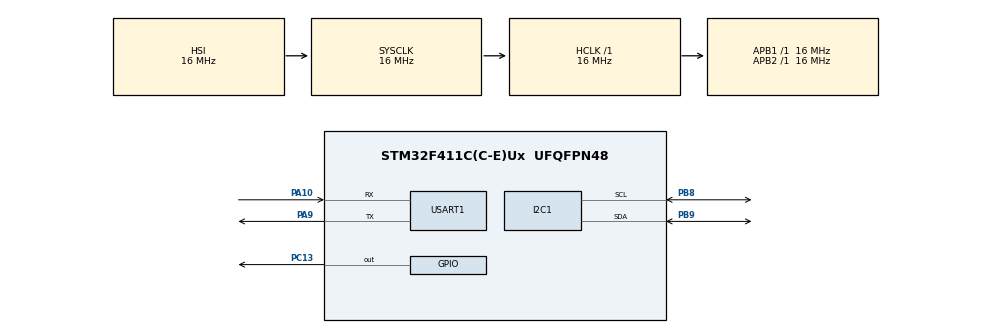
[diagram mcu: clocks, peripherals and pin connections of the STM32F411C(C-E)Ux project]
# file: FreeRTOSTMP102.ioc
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FREERTOS.Queues01=myQueue01,16,queueItem_t,0,Dynamic,NULL,NULL
FREERTOS.Tasks01=readTempTask,24,128,ReadTempTask,Default,NULL,Dynamic,NULL,NULL;writeTempTask,8,128,WriteTempTask,Default,NULL,Dynamic,NULL,NULL
Mcu.Family=STM32F4
Mcu.Name=STM32F411C(C-E)Ux
Mcu.Package=UFQFPN48
NVIC.PriorityGroup=NVIC_PRIORITYGROUP_4
NVIC.TIM1_TRG_COM_TIM11_IRQn=true\:0\:0\:false\:false\:true\:false\:false\:true
NVIC.TimeBase=TIM1_TRG_COM_TIM11_IRQn
NVIC.TimeBaseIP=TIM11
PA10.Mode=Asynchronous
PA10.Signal=USART1_RX
PA9.Mode=Asynchronous
PA9.Signal=USART1_TX
PB8.Mode=I2C
PB8.Signal=I2C1_SCL
PB9.Mode=I2C
PB9.Signal=I2C1_SDA
PC13-ANTI_TAMP.Signal=GPIO_Output
ProjectManager.HeapSize=0x200
ProjectManager.StackSize=0x400
ProjectManager.TargetToolchain=STM32CubeIDE
RCC.AHBFreq_Value=16000000
RCC.APB1Freq_Value=16000000
RCC.APB2Freq_Value=16000000
RCC.CortexFreq_Value=16000000
RCC.HSE_VALUE=25000000
RCC.HSI_VALUE=16000000
RCC.LSE_VALUE=32768
RCC.SYSCLKFreq_VALUE=16000000
RCC.VCOOutputFreq_Value=192000000
USART1.VirtualMode=VM_ASYNC
VP_FREERTOS_VS_CMSIS_V2.Mode=CMSIS_V2
VP_SYS_VS_tim11.Mode=TIM11
board=custom

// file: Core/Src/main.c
/* USER CODE BEGIN Header */
/**
 ******************************************************************************
 * @file           : main.c
 * @brief          : Main program body
 ******************************************************************************
 * @attention
 *
 * <h2><center>&copy; Copyright (c) 2021 STMicroelectronics.
 * All rights reserved.</center></h2>
 *
 * This software component is licensed by ST under BSD 3-Clause license,
 * the "License"; You may not use this file except in compliance with the
 * License. You may obtain a copy of the License at:
 *                        opensource.org/licenses/BSD-3-Clause
 *
 ******************************************************************************
 */
/* USER CODE END Header */
#include "main.h"
#include "cmsis_os.h"

/* USER CODE BEGIN Includes */
#include <stdio.h>
#include <string.h>
/* USER CODE END Includes */

/* USER CODE BEGIN PTD */
typedef struct {
	HAL_StatusTypeDef halStatus;
	uint16_t value;
} queueItem_t;
/* USER CODE END PTD */

I2C_HandleTypeDef hi2c1;

UART_HandleTypeDef huart1;

/* Definitions for readTempTask */
osThreadId_t readTempTaskHandle;
const osThreadAttr_t readTempTask_attributes = { .name = "readTempTask",
		.priority = (osPriority_t) osPriorityNormal, .stack_size = 128 * 4 };
/* Definitions for writeTempTask */
osThreadId_t writeTempTaskHandle;
const osThreadAttr_t writeTempTask_attributes = { .name = "writeTempTask",
		.priority = (osPriority_t) osPriorityLow, .stack_size = 128 * 4 };
/* Definitions for myQueue01 */
osMessageQueueId_t myQueue01Handle;
const osMessageQueueAttr_t myQueue01_attributes = { .name = "myQueue01" };
/* USER CODE BEGIN PV */
static const uint8_t TMP102_I2C_ADDR = 0x48 << 1;
static const uint8_t TMP102_REG_ADDR = 0x00;
/* USER CODE END PV */

void SystemClock_Config(void);
static void MX_GPIO_Init(void);
static void MX_I2C1_Init(void);
static void MX_USART1_UART_Init(void);
void ReadTempTask(void *argument);
void WriteTempTask(void *argument);

int main(void) {

	/* MCU Configuration--------------------------------------------------------*/

	/* Reset of all peripherals, Initializes the Flash interface and the Systick. */
	HAL_Init();

	/* Configure the system clock */
	SystemClock_Config();

	/* Initialize all configured peripherals */
	MX_GPIO_Init();
	MX_I2C1_Init();
	MX_USART1_UART_Init();

	/* Init scheduler */
	osKernelInitialize();

	/* Create the queue(s) */
	/* creation of myQueue01 */
	myQueue01Handle = osMessageQueueNew(16, sizeof(queueItem_t), &myQueue01_attributes);

	/* Create the thread(s) */
	/* creation of readTempTask */
	readTempTaskHandle = osThreadNew(ReadTempTask, NULL, &readTempTask_attributes);

	/* creation of writeTempTask */
	writeTempTaskHandle = osThreadNew(WriteTempTask, NULL, &writeTempTask_attributes);

	/* Start scheduler */
	osKernelStart();

	/* We should never get here as control is now taken by the scheduler */
	/* Infinite loop */
	while (1) {

	}
}

void SystemClock_Config(void) {
	RCC_OscInitTypeDef RCC_OscInitStruct = { 0 };
	RCC_ClkInitTypeDef RCC_ClkInitStruct = { 0 };

	/** Configure the main internal regulator output voltage
	 */
	__HAL_RCC_PWR_CLK_ENABLE();
	__HAL_PWR_VOLTAGESCALING_CONFIG(PWR_REGULATOR_VOLTAGE_SCALE1);
	/** Initializes the RCC Oscillators according to the specified parameters
	 * in the RCC_OscInitTypeDef structure.
	 */
	RCC_OscInitStruct.OscillatorType = RCC_OSCILLATORTYPE_HSI;
	RCC_OscInitStruct.HSIState = RCC_HSI_ON;
	RCC_OscInitStruct.HSICalibrationValue = RCC_HSICALIBRATION_DEFAULT;
	RCC_OscInitStruct.PLL.PLLState = RCC_PLL_NONE;
	if (HAL_RCC_OscConfig(&RCC_OscInitStruct) != HAL_OK) {
		Error_Handler();
	}
	/** Initializes the CPU, AHB and APB buses clocks
	 */
	RCC_ClkInitStruct.ClockType = RCC_CLOCKTYPE_HCLK | RCC_CLOCKTYPE_SYSCLK
			| RCC_CLOCKTYPE_PCLK1 | RCC_CLOCKTYPE_PCLK2;
	RCC_ClkInitStruct.SYSCLKSource = RCC_SYSCLKSOURCE_HSI;
	RCC_ClkInitStruct.AHBCLKDivider = RCC_SYSCLK_DIV1;
	RCC_ClkInitStruct.APB1CLKDivider = RCC_HCLK_DIV1;
	RCC_ClkInitStruct.APB2CLKDivider = RCC_HCLK_DIV1;

	if (HAL_RCC_ClockConfig(&RCC_ClkInitStruct, FLASH_LATENCY_0) != HAL_OK) {
		Error_Handler();
	}
}

static void MX_I2C1_Init(void) {

	hi2c1.Instance = I2C1;
	hi2c1.Init.ClockSpeed = 100000;
	hi2c1.Init.DutyCycle = I2C_DUTYCYCLE_2;
	hi2c1.Init.OwnAddress1 = 0;
	hi2c1.Init.AddressingMode = I2C_ADDRESSINGMODE_7BIT;
	hi2c1.Init.DualAddressMode = I2C_DUALADDRESS_DISABLE;
	hi2c1.Init.OwnAddress2 = 0;
	hi2c1.Init.GeneralCallMode = I2C_GENERALCALL_DISABLE;
	hi2c1.Init.NoStretchMode = I2C_NOSTRETCH_DISABLE;
	if (HAL_I2C_Init(&hi2c1) != HAL_OK) {
		Error_Handler();
	}

}

static void MX_USART1_UART_Init(void) {

	huart1.Instance = USART1;
	huart1.Init.BaudRate = 115200;
	huart1.Init.WordLength = UART_WORDLENGTH_8B;
	huart1.Init.StopBits = UART_STOPBITS_1;
	huart1.Init.Parity = UART_PARITY_NONE;
	huart1.Init.Mode = UART_MODE_TX_RX;
	huart1.Init.HwFlowCtl = UART_HWCONTROL_NONE;
	huart1.Init.OverSampling = UART_OVERSAMPLING_16;
	if (HAL_UART_Init(&huart1) != HAL_OK) {
		Error_Handler();
	}

}

static void MX_GPIO_Init(void) {
	GPIO_InitTypeDef GPIO_InitStruct = { 0 };

	/* GPIO Ports Clock Enable */
	__HAL_RCC_GPIOC_CLK_ENABLE();
	__HAL_RCC_GPIOA_CLK_ENABLE();
	__HAL_RCC_GPIOB_CLK_ENABLE();

	/*Configure GPIO pin Output Level */
	HAL_GPIO_WritePin(GPIOC, GPIO_PIN_13, GPIO_PIN_RESET);

	/*Configure GPIO pin : PC13 */
	GPIO_InitStruct.Pin = GPIO_PIN_13;
	GPIO_InitStruct.Mode = GPIO_MODE_OUTPUT_PP;
	GPIO_InitStruct.Pull = GPIO_NOPULL;
	GPIO_InitStruct.Speed = GPIO_SPEED_FREQ_LOW;
	HAL_GPIO_Init(GPIOC, &GPIO_InitStruct);

}

void ReadTempTask(void *argument) {
	/* USER CODE BEGIN 5 */
	uint8_t buf[2];
	queueItem_t item;

	/* Infinite loop */
	for (;;) {
		buf[0] = TMP102_REG_ADDR;
		item.halStatus = HAL_I2C_Master_Transmit(&hi2c1, TMP102_I2C_ADDR, buf, 1, HAL_MAX_DELAY);

		if (item.halStatus == HAL_OK) {
			item.halStatus = HAL_I2C_Master_Receive(&hi2c1, TMP102_I2C_ADDR, buf, 2, HAL_MAX_DELAY);

			if (item.halStatus == HAL_OK) {
				item.value = ((int16_t) buf[0] << 4) | (buf[1] >> 4);

				if (item.value > 0x7FF) {
					item.value |= 0xF000;
				}

				osMessageQueuePut(myQueue01Handle, (void *) &item, 0U, 0U);
			}
		}

		osDelay(500);
	}
	/* USER CODE END 5 */
}

void WriteTempTask(void *argument) {
	/* USER CODE BEGIN WriteTempTask */
	queueItem_t item;
	uint8_t localBuf[16];

	/* Infinite loop */
	for (;;) {
		osMessageQueueGet(myQueue01Handle, (void *) &item, NULL, osWaitForever);

		sprintf((char *) localBuf, "%u.%02u degC\r\n", item.value >> 4, ((item.value * 100) >> 4) % 100);

		HAL_UART_Transmit(&huart1, localBuf, strlen((char *) localBuf), HAL_MAX_DELAY);
	}
	/* USER CODE END WriteTempTask */
}

void HAL_TIM_PeriodElapsedCallback(TIM_HandleTypeDef *htim) {
	if (htim->Instance == TIM11) {
		HAL_IncTick();
	}
}

void Error_Handler(void) {
	__disable_irq();
	while (1) {
	}
}

/************************ (C) COPYRIGHT STMicroelectronics *****END OF FILE****/
